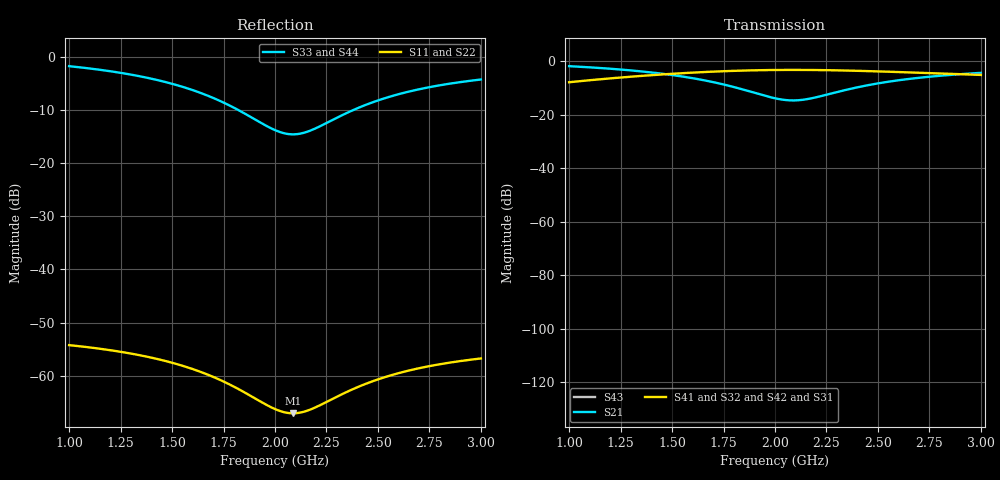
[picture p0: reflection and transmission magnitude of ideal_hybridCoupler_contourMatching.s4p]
! TOUCHSTONE file generated by CST DESIGN STUDIO
! Date and time: Tue Mar 24 01:05:59 2026
! Project name: C:\Users\ilya\AppData\Local\Temp\CSTDE1\Temp\DE25\Untitled_0.cst
! Tree item: Tasks\SPara1\S-Parameters
! Header version: 2024
! Port assignment regex: !\s*Touchstone port\s*([0-9]+)\s*=\s*(CST MWS port|CST DES external port|CST DES block port)\s*(.+)\s* \(\"(.*)\"\)(\s*mode\s*([0-9]+))?.*
! Touchstone port assignment:
! Touchstone port 1 = CST DES external port 1 ("")
! Touchstone port 2 = CST DES external port 2 ("")
! Touchstone port 3 = CST DES external port 3 ("")
! Touchstone port 4 = CST DES external port 4 ("")
# GHz S MA R 50
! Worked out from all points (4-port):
!   1001 points, 1 GHz to 3 GHz, reference 50 ohm
!   strongest paths, dB at 1 GHz, 1.5 GHz, 2 GHz, 2.5 GHz, 3 GHz:
!     S41: -7.8, -4.6, -3.2, -3.7, -5.0
!     S32: -7.8, -4.6, -3.2, -3.7, -5.0
!     S42: -7.8, -4.6, -3.2, -3.7, -5.1
!     S31: -7.8, -4.6, -3.2, -3.7, -5.1
!     S21: -1.8, -5.1, -13.8, -8.2, -4.3
!     S43: -, -, -, -, -
!   lowest |S11| = -67.1 dB at 2.088 GHz (marker M1), VSWR 1.00, Z = 50 - j0.0107 ohm
!   |S11| at or under -10 dB: start of sweep to end of sweep
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1  0.001939 -120.1  0.8167 149.9  0.4076 -79.5  0.4086 10.5
   0.8167 149.9  0.001939 -120.1  0.4086 10.5  0.4076 -79.5
   0.4076 -79.5  0.4086 10.5  0.8167 -38.8  5.773e-17 94.7
   0.4086 10.5  0.4076 -79.5  3.816e-17 108.1  0.8167 -38.8
1.3  0.001616 -151.0  0.6804 119.0  0.5176 -103.1  0.5188 -13.1
     0.6804 119.0  0.001616 -151.0  0.5188 -13.1  0.5176 -103.1
     0.5176 -103.1  0.5188 -13.1  0.6804 -55.2  1.389e-16 62.5
     0.5188 -13.1  0.5176 -103.1  4.644e-17 34.5  0.6804 -55.2
1.624  0.001113 -179.9  0.4685 90.1  0.6239 -130.4  0.6254 -40.4
       0.4685 90.1  0.001113 -179.9  0.6254 -40.4  0.6239 -130.4
       0.6239 -130.4  0.6254 -40.4  0.4685 -80.8  1.385e-16 8.4
       0.6254 -40.4  0.6239 -130.4  7.896e-17 -13.5  0.4685 -80.8
1.836  0.0007246 170.1  0.3052 80.1  0.6726 -149.3  0.6742 -59.3
       0.3052 80.1  0.0007246 170.1  0.6742 -59.3  0.6726 -149.3
       0.6726 -149.3  0.6742 -59.3  0.3052 -108.6  1.171e-16 -27.9
       0.6742 -59.3  0.6726 -149.3  2.281e-16 -7.4  0.3052 -108.6
2.088  0.0004427 -166.0  0.1864 104.0  0.6939 -171.9  0.6955 -81.9
       0.1864 104.0  0.0004427 -166.0  0.6955 -81.9  0.6939 -171.9
       0.6939 -171.9  0.6955 -81.9  0.1864 -177.8  1.665e-16 -102.7
       0.6955 -81.9  0.6939 -171.9  6.884e-17 162.3  0.1864 -177.8
2.542  0.0009805 -150.3  0.413 119.7  0.6432 151.3  0.6448 -118.7
       0.413 119.7  0.0009805 -150.3  0.6448 -118.7  0.6432 151.3
       0.6432 151.3  0.6448 -118.7  0.413 92.9  2.151e-16 -156.1
       0.6448 -118.7  0.6432 151.3  1.358e-16 -161.8  0.413 92.9
3  0.001452 177.7  0.6116 87.7  0.5587 121.6  0.5601 -148.4
   0.6116 87.7  0.001452 177.7  0.5601 -148.4  0.5587 121.6
   0.5587 121.6  0.5601 -148.4  0.6116 65.4  1.325e-16 143.5
   0.5601 -148.4  0.5587 121.6  4.006e-17 -169.1  0.6116 65.4
